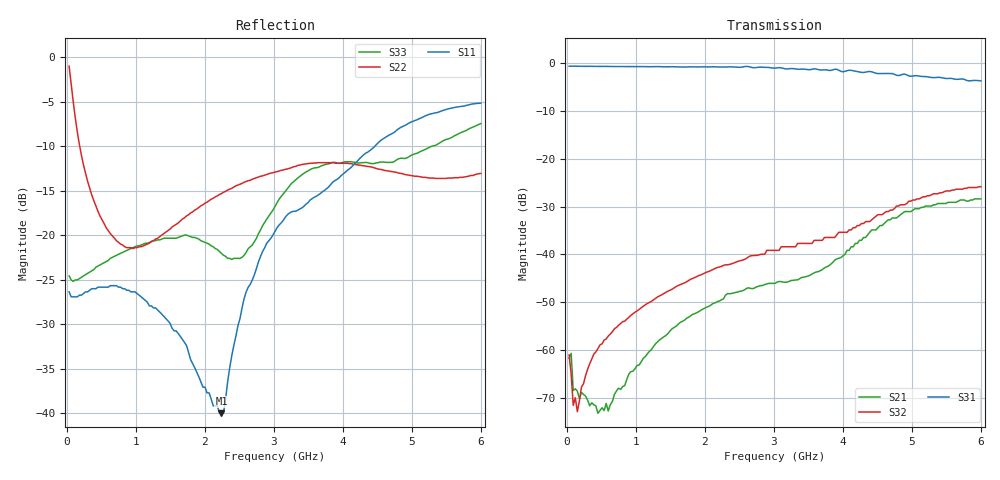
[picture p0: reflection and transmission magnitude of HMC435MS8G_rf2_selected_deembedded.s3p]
!Hittite Microwave Corporation
!12 Elizabeth Drive
!Chelmsford, MA 01824
!Tel: 978-250-3343
!Fax: 978-250-3373
!Device: HMC435MS8G, DC-4 GHz, GaAs MESFET SPDT switch in 8-lead Grounded Base surface Mount Plastic Package
!Misc: Vctl=0/+5V, Port1 = RFC, Port 2 = RF1, Port 3 = RF2, RF2 selected
# MHZ S MA R 50
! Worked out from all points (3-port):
!   201 points, 30 MHz to 6 GHz, reference 50 ohm
!   strongest paths, dB at 30 MHz, 1.522 GHz, 3.015 GHz, 4.508 GHz, 6 GHz:
!     S31: -0.6, -0.7, -1.0, -2.2, -3.7
!     S32: -61.1, -47.3, -39.2, -31.7, -25.8
!     S21: -61.8, -55.6, -46.1, -34.4, -28.4
!   lowest |S11| = -40.0 dB at 2.239 GHz (marker M1), VSWR 1.02, Z = 50.4 + j0.897 ohm
!   |S11| at or under -10 dB: start of sweep to 4.465 GHz
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30  0.048 -28.9  0.0008142 53.4  0.929 1.1
    0.0008133 48.6  0.888 -25.1  0.000813 60.6
    0.929 1.0  0.0008859 58.9  0.059 -25.4
59.85  0.045 -21.5  0.0008943 -52.3  0.93 0.3
       0.0009199 -52.2  0.707 -41.9  0.0006197 -41.1
       0.93 0.3  0.0005541 -45.8  0.056 -17.3
89.7  0.045 -18.5  0.0004245 -42.7  0.93 -0.0
      0.0003751 -46.8  0.56 -52.1  0.0002475 -3.0
      0.93 0.0  0.000263 0.7  0.055 -13.8
149.4  0.045 -19.9  0.000389 -29.2  0.929 -0.3
       0.00037 -29.6  0.378 -61.8  0.0002086 44.0
       0.928 -0.4  0.0002254 41.8  0.056 -13.3
328.5  0.049 -33.1  0.0003184 -39.4  0.929 -0.8
       0.0002602 -39.4  0.183 -65.4  0.0007475 89.9
       0.927 -0.9  0.000716 88.1  0.062 -20.0
716.55  0.052 -58.3  0.0003729 -109.1  0.923 -1.5
        0.0003709 -102.2  0.093 -44.6  0.001726 108.9
        0.922 -1.5  0.001718 109.5  0.077 -28.8
2238.9  0.009982 63.0  0.003339 -151.3  0.913 -4.2
        0.003341 -151.7  0.171 32.8  0.00747 151.3
        0.911 -4.3  0.007485 150.7  0.079 22.6
2567.25  0.044 113.9  0.004188 -153.8  0.913 -5.6
         0.004229 -152.6  0.198 39.4  0.008933 158.3
         0.92 -5.4  0.008813 158.2  0.077 65.5
3015  0.105 114.6  0.005013 -150.3  0.894 -8.3
      0.004956 -147.5  0.226 46.6  0.011 165.9
      0.887 -8.2  0.011 164.9  0.145 101.8
6000  0.551 92.4  0.038 -137.3  0.653 -22.1
      0.038 -137.4  0.222 30.1  0.051 -162.3
      0.652 -22.0  0.051 -161.5  0.423 89.4
